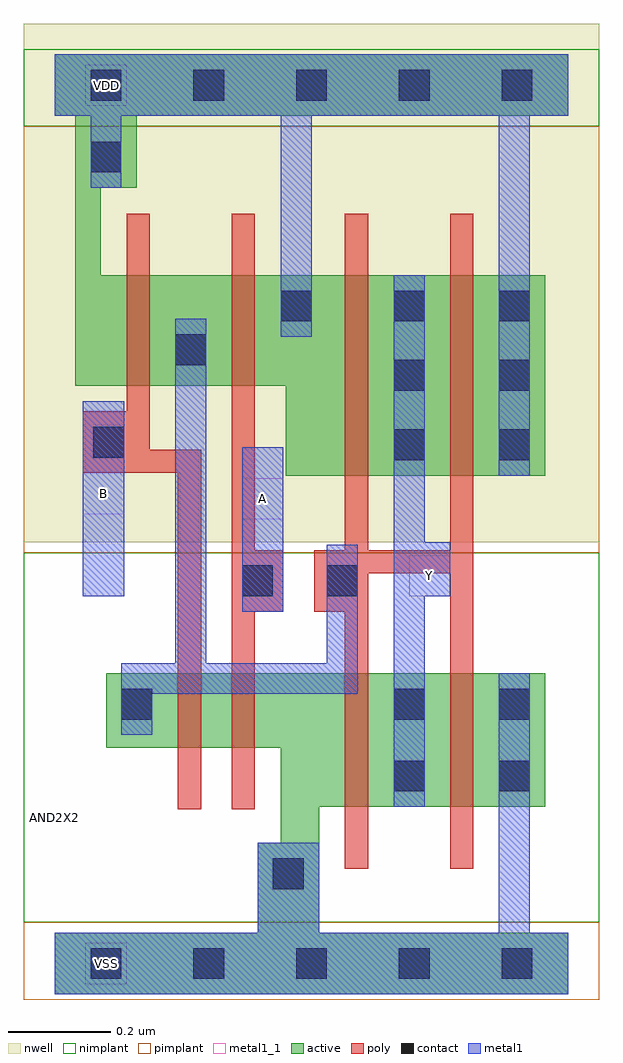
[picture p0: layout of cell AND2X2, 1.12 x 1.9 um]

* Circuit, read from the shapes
.subckt AND2X2 A B VDD VSS Y
M1 n1 B n2 VSS nfet w=0.145u l=0.045u
M2 VSS A n1 VSS nfet w=0.145u l=0.045u
M3 Y n2 VSS VSS nfet w=0.26u l=0.045u m=2
M4 n2 B VDD VDD pfet w=0.215u l=0.045u
M5 VDD A n2 VDD pfet w=0.215u l=0.045u
M6 Y n2 VDD VDD pfet w=0.39u l=0.045u m=2
.ends

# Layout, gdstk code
import gdstk
lib = gdstk.Library(unit=1e-6, precision=5e-10)
def R(c, l, rs):  # rectangles x0, y0, x1, y1
    for r in rs: c.add(gdstk.rectangle(r[:2], r[2:], *l))
def A(c, l, x, y, w, h, nx, ny, dx, dy):  # array of equal rectangles
    R(c, l, [(x+i*dx, y+j*dy, x+i*dx+w, y+j*dy+h) for i in range(nx) for j in range(ny)])
def P(c, l, *ps):  # polygons
    for p in ps: c.add(gdstk.Polygon(p, *l))
active = (1, 0)
nwell = (2, 0)
poly = (3, 0)
nimplant = (4, 0)
pimplant = (5, 0)
contact = (6, 0)
metal1 = (7, 0)
metal1_1 = (7, 1)

and2x2 = lib.new_cell('AND2X2')
P(and2x2, active, [(1,0.06),(0.515,0.06),(0.515,0.305),(0.955,0.305),(0.955,0.565),(0.1,0.565),(0.1,0.42),(0.44,0.42),(0.44,0.235),(0.395,0.235),(0.395,0.06),(0,0.06),(0,-0.06),(1,-0.06)],
  [(1,1.77),(0,1.77),(0,1.65),(0.04,1.65),(0.04,1.125),(0.45,1.125),(0.45,0.95),(0.955,0.95),(0.955,1.34),(0.09,1.34),(0.09,1.51),(0.16,1.51),(0.16,1.65),(1,1.65)])
R(and2x2, nwell, [(-0.06,0.82,1.06,1.83)])
P(and2x2, poly, [(0.815,1.46),(0.77,1.46),(0.77,0.805),(0.61,0.805),(0.61,1.46),(0.565,1.46),(0.565,0.805),(0.505,0.805),(0.505,0.685),(0.565,0.685),(0.565,0.185),(0.61,0.185),(0.61,0.76),(0.77,0.76),(0.77,0.185),(0.815,0.185)],
  [(0.445,0.805),(0.39,0.805),(0.39,1.46),(0.345,1.46),(0.345,0.3),(0.39,0.3),(0.39,0.685),(0.445,0.685)],
  [(0.285,1),(0.185,1),(0.185,1.46),(0.14,1.46),(0.14,1.075),(0.055,1.075),(0.055,0.955),(0.24,0.955),(0.24,0.3),(0.285,0.3)])
R(and2x2, nimplant, [(-0.06,0.08,1.06,0.8), (-0.06,1.63,1.06,1.78)])
R(and2x2, pimplant, [(-0.06,-0.07,1.06,0.08), (-0.06,0.8,1.06,1.63)])
A(and2x2, contact, 0.07, -0.03, 0.06, 0.06, 5, 2, 0.2, 1.71)
A(and2x2, contact, 0.66, 0.98, 0.06, 0.06, 1, 3, 0, 0.135)
A(and2x2, contact, 0.865, 0.98, 0.06, 0.06, 1, 3, 0, 0.135)
R(and2x2, contact, [(0.425,0.145,0.485,0.205), (0.66,0.335,0.72,0.395), (0.865,0.335,0.925,0.395), (0.13,0.475,0.19,0.535), (0.66,0.475,0.72,0.535), (0.865,0.475,0.925,0.535), (0.365,0.715,0.425,0.775), (0.53,0.715,0.59,0.775), (0.075,0.985,0.135,1.045), (0.235,1.165,0.295,1.225), (0.44,1.25,0.5,1.31), (0.07,1.54,0.13,1.6)])
R(and2x2, metal1, [(0.365,0.685,0.445,1.005), (0.055,0.715,0.135,1.095)])
P(and2x2, metal1, [(1,1.77),(0,1.77),(0,1.65),(0.07,1.65),(0.07,1.51),(0.13,1.51),(0.13,1.65),(0.44,1.65),(0.44,1.22),(0.5,1.22),(0.5,1.65),(0.865,1.65),(0.865,0.95),(0.925,0.95),(0.925,1.65),(1,1.65)],
  [(0.77,0.82),(0.72,0.82),(0.72,1.34),(0.66,1.34),(0.66,0.305),(0.72,0.305),(0.72,0.715),(0.77,0.715)],
  [(0.59,0.815),(0.53,0.815),(0.53,0.585),(0.295,0.585),(0.295,1.255),(0.235,1.255),(0.235,0.585),(0.13,0.585),(0.13,0.445),(0.19,0.445),(0.19,0.525),(0.59,0.525)],
  [(1,0.06),(0.925,0.06),(0.925,0.565),(0.865,0.565),(0.865,0.06),(0.515,0.06),(0.515,0.235),(0.395,0.235),(0.395,0.06),(0,0.06),(0,-0.06),(1,-0.06)])
R(and2x2, metal1_1, [(0.06,-0.04,0.14,0.04), (0.69,0.715,0.77,0.795), (0.365,0.865,0.445,0.945), (0.055,0.875,0.135,0.955), (0.06,1.67,0.14,1.75)])
and2x2.add(gdstk.Label('B', (0.095,0.915), layer=7, texttype=1))
and2x2.add(gdstk.Label('VSS', (0.1,0), layer=7, texttype=1))
and2x2.add(gdstk.Label('Y', (0.73,0.755), layer=7, texttype=1))
and2x2.add(gdstk.Label('A', (0.405,0.905), layer=7, texttype=1))
and2x2.add(gdstk.Label('VDD', (0.1,1.71), layer=7, texttype=1))
and2x2.add(gdstk.Label('AND2X2', (0,0.285), layer=63, texttype=0))

lib.write_gds('AND2X2.gds')
